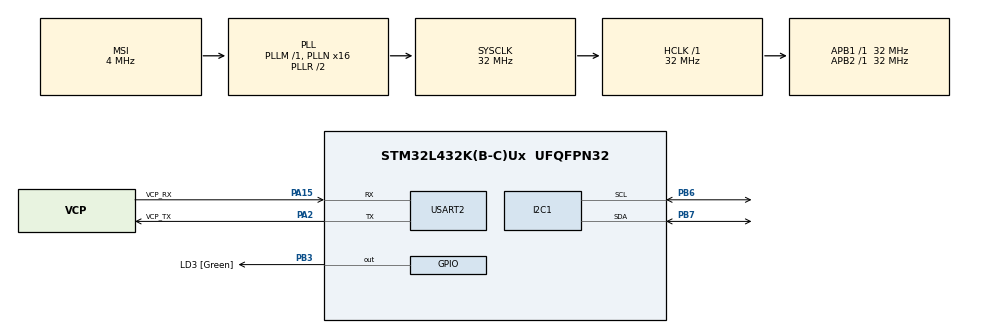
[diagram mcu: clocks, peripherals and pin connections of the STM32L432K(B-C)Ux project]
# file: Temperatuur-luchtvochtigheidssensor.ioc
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I2C1.Timing=0x00B07CB4
Mcu.Family=STM32L4
Mcu.Name=STM32L432K(B-C)Ux
Mcu.Package=UFQFPN32
NVIC.PriorityGroup=NVIC_PRIORITYGROUP_4
PA0.GPIO_Label=MCO [High speed clock in]
PA0.Mode=HSE-External-Clock-Source-for-LittleOrca
PA0.Signal=RCC_CK_IN
PA13\ (JTMS-SWDIO).GPIO_Label=SWDIO
PA13\ (JTMS-SWDIO).Mode=Serial_Wire
PA13\ (JTMS-SWDIO).Signal=SYS_JTMS-SWDIO
PA14\ (JTCK-SWCLK).GPIO_Label=SWCLK
PA14\ (JTCK-SWCLK).Mode=Serial_Wire
PA14\ (JTCK-SWCLK).Signal=SYS_JTCK-SWCLK
PA15\ (JTDI).GPIO_Label=VCP_RX
PA15\ (JTDI).Mode=Asynchronous
PA15\ (JTDI).Signal=USART2_RX
PA2.GPIO_Label=VCP_TX
PA2.Mode=Asynchronous
PA2.Signal=USART2_TX
PB3\ (JTDO-TRACESWO).GPIO_Label=LD3 [Green]
PB3\ (JTDO-TRACESWO).Signal=GPIO_Output
PB6.Mode=I2C
PB6.Signal=I2C1_SCL
PB7.Mode=I2C
PB7.Signal=I2C1_SDA
PC14-OSC32_IN\ (PC14).Mode=LSE-External-Oscillator
PC14-OSC32_IN\ (PC14).Signal=RCC_OSC32_IN
PC15-OSC32_OUT\ (PC15).Mode=LSE-External-Oscillator
PC15-OSC32_OUT\ (PC15).Signal=RCC_OSC32_OUT
ProjectManager.HeapSize=0x200
ProjectManager.StackSize=0x400
ProjectManager.TargetToolchain=STM32CubeIDE
RCC.AHBFreq_Value=32000000
RCC.APB1Freq_Value=32000000
RCC.APB1TimFreq_Value=32000000
RCC.APB2Freq_Value=32000000
RCC.APB2TimFreq_Value=32000000
RCC.CortexFreq_Value=32000000
RCC.HCLKFreq_Value=32000000
RCC.HSE_VALUE=8000000
RCC.HSI16_VALUE=16000000
RCC.HSI48_VALUE=48000000
RCC.HSI_VALUE=16000000
RCC.MSI_VALUE=4000000
RCC.PLLMUL=RCC_PLLMUL_4
RCC.PLLN=16
RCC.SYSCLKFreq_VALUE=32000000
RCC.SYSCLKSource=RCC_SYSCLKSOURCE_PLLCLK
RCC.VCOOutputFreq_Value=64000000
USART2.VirtualMode-Asynchronous=VM_ASYNC
board=NUCLEO-L432KC

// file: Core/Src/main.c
/* USER CODE BEGIN Header */
/**
  ******************************************************************************
  * @file           : main.c
  * @brief          : Main program body
  ******************************************************************************
  * @attention
  *
  * Copyright (c) 2026 STMicroelectronics.
  * All rights reserved.
  *
  * This software is licensed under terms that can be found in the LICENSE file
  * in the root directory of this software component.
  * If no LICENSE file comes with this software, it is provided AS-IS.
  *
  ******************************************************************************
  */
/* USER CODE END Header */
#include "main.h"
#include "i2c.h"
#include "usart.h"
#include "gpio.h"

/* USER CODE BEGIN Includes */
#include "i2c.h"
#include <stdio.h>
/* USER CODE END Includes */

/* USER CODE BEGIN PD */
#define SHT3X_ADDR 0x44 << 1
/* USER CODE END PD */

void SystemClock_Config(void);

/* USER CODE BEGIN 0 */
void I2C_Scan(void) {
    for (uint8_t addr = 1; addr < 127; addr++) { //Loopt alle geldige I2C adressen door (start bij addres 1, zijn 7-bit -> bereik 0x01 tot 0x7E (1-126) -> scan alle mogelijke slaves op bus
        if (HAL_I2C_IsDeviceReady(&hi2c1, addr << 1, 1, 10) == HAL_OK) { //pointer naar I2C handle (I2C1), linkershift van 1 bit, HAL verwacht 8-bit adres, 1 (aantal pogingen, trials, 10 (timeout in milliseconden), == HAL_OK -> functie ACK van slave
            printf("FOUND I2C DEVICE at 0x%02X\r\n", addr); //0x%02X = minstens 2 cijfers met voorloopnul, \r\n = carriage return + newline -> correcte terminalweergave
        }
    }
}
HAL_StatusTypeDef SHT3X_Read(float *temp, float *hum) // Geeft HAL status terug, float *temp -> pointer naar variabele waarin temp komt, float *hum -> pointer naar variable waarin luchtvochtigheid (meerdere waarden teruggeven)
{
	uint8_t cmd[2] = {0x24, 0x00}; //I2C commando voor SHT3x: 0x2400 = Single shot measurement, high repeatability, clock stretching disabled (opgesplitst in 2 bytes, want I2C byte-gebaseerd
	uint8_t data[6]; //buffer ontvangen data sensor, 6 bytes (temp MSB, temp LSB, CRC (temp), humidity MSB, humidity LSB, CRC(hum)

	if (HAL_I2C_Master_Transmit(&hi2c1, SHT3X_ADDR, cmd, 2, 50) != HAL_OK) //stuurt meetcommando naar sensor (&hi2c1 -> I2C peripheral, SHT3X_ADDR -> I2C adres van sensor, cmd -> commandoarray, 2 -> aantal bytes, 50 - timeout in ms)
		return HAL_ERROR;

	HAL_Delay(20);

	if (HAL_I2C_Master_Receive(&hi2c1, SHT3X_ADDR, data, 6, 50) != HAL_OK) //leest 6 bytes van sensor, zelfde I2C-adres, data opgeslagen in data[], fout -> HAL_ERROR
		return HAL_ERROR;

	uint16_t rawT = (data[0] << 8) | data[1]; //combineert 2 bytes -> 1 16-bit ruwe waarde, data[0] = MSB(bovenste 8 bits), data[1] = LSB (onderste 8 bits), data[0] = hoge byte -> 8 bits naar links -> plek maken voor data[1]
	*temp = -45.0f + 175.0f * ((float) rawT / 65535.0f); //Formule T= -45 + 175 x raw / 65535 (resultaat in graden Celsius, opgeslagen via pointer temp

	uint16_t rawRH = (data[3] << 8) | data[4]; //van twee losse bytes -> 1 16-bit ruwe humidity waarde, data[3] = hum MSB, data[4] = hum LSB, 16-bit (bereik = 0 -> 65535)

	*hum = 100.0f * ((float) rawRH / 65535.0f);

	return HAL_OK;

}
/* USER CODE END 0 */

int main(void)
{

  /* MCU Configuration--------------------------------------------------------*/

  /* Reset of all peripherals, Initializes the Flash interface and the Systick. */
  HAL_Init();

  /* Configure the system clock */
  SystemClock_Config();

  /* Initialize all configured peripherals */
  MX_GPIO_Init();
  MX_I2C1_Init();
  MX_USART2_UART_Init();
  /* USER CODE BEGIN 2 */
  I2C_Scan();
  HAL_Delay(2000);
  float temperature = 0.0f;
  float humidity = 0.0f;

  /* USER CODE END 2 */

  /* Infinite loop */
  /* USER CODE BEGIN WHILE */
  while (1)
  {
	  if (SHT3X_Read(&temperature, &humidity) == HAL_OK)
	      {
	          printf("Temp: %.2f C, Hum: %.2f %%\r\n", temperature, humidity);
	      }
	      else
	      {
	          printf("SHT3x read error!\r\n");
	      }

	      HAL_Delay(1000);

    /* USER CODE END WHILE */

  }
}

void SystemClock_Config(void)
{
  RCC_OscInitTypeDef RCC_OscInitStruct = {0};
  RCC_ClkInitTypeDef RCC_ClkInitStruct = {0};

  /** Configure the main internal regulator output voltage
  */
  if (HAL_PWREx_ControlVoltageScaling(PWR_REGULATOR_VOLTAGE_SCALE1) != HAL_OK)
  {
    Error_Handler();
  }

  /** Configure LSE Drive Capability
  */
  HAL_PWR_EnableBkUpAccess();
  __HAL_RCC_LSEDRIVE_CONFIG(RCC_LSEDRIVE_LOW);

  /** Initializes the RCC Oscillators according to the specified parameters
  * in the RCC_OscInitTypeDef structure.
  */
  RCC_OscInitStruct.OscillatorType = RCC_OSCILLATORTYPE_LSE|RCC_OSCILLATORTYPE_MSI;
  RCC_OscInitStruct.LSEState = RCC_LSE_ON;
  RCC_OscInitStruct.MSIState = RCC_MSI_ON;
  RCC_OscInitStruct.MSICalibrationValue = 0;
  RCC_OscInitStruct.MSIClockRange = RCC_MSIRANGE_6;
  RCC_OscInitStruct.PLL.PLLState = RCC_PLL_ON;
  RCC_OscInitStruct.PLL.PLLSource = RCC_PLLSOURCE_MSI;
  RCC_OscInitStruct.PLL.PLLM = 1;
  RCC_OscInitStruct.PLL.PLLN = 16;
  RCC_OscInitStruct.PLL.PLLP = RCC_PLLP_DIV7;
  RCC_OscInitStruct.PLL.PLLQ = RCC_PLLQ_DIV2;
  RCC_OscInitStruct.PLL.PLLR = RCC_PLLR_DIV2;
  if (HAL_RCC_OscConfig(&RCC_OscInitStruct) != HAL_OK)
  {
    Error_Handler();
  }

  /** Initializes the CPU, AHB and APB buses clocks
  */
  RCC_ClkInitStruct.ClockType = RCC_CLOCKTYPE_HCLK|RCC_CLOCKTYPE_SYSCLK
                              |RCC_CLOCKTYPE_PCLK1|RCC_CLOCKTYPE_PCLK2;
  RCC_ClkInitStruct.SYSCLKSource = RCC_SYSCLKSOURCE_PLLCLK;
  RCC_ClkInitStruct.AHBCLKDivider = RCC_SYSCLK_DIV1;
  RCC_ClkInitStruct.APB1CLKDivider = RCC_HCLK_DIV1;
  RCC_ClkInitStruct.APB2CLKDivider = RCC_HCLK_DIV1;

  if (HAL_RCC_ClockConfig(&RCC_ClkInitStruct, FLASH_LATENCY_1) != HAL_OK)
  {
    Error_Handler();
  }

  /** Enable MSI Auto calibration
  */
  HAL_RCCEx_EnableMSIPLLMode();
}

/* USER CODE BEGIN 4 */

int _write(int file, char *ptr, int len)
{
    HAL_UART_Transmit(&huart2, (uint8_t*)ptr, len, HAL_MAX_DELAY);
    return len;
}

/* USER CODE END 4 */

void Error_Handler(void)
{
  __disable_irq();
  while (1)
  {
  }
}
